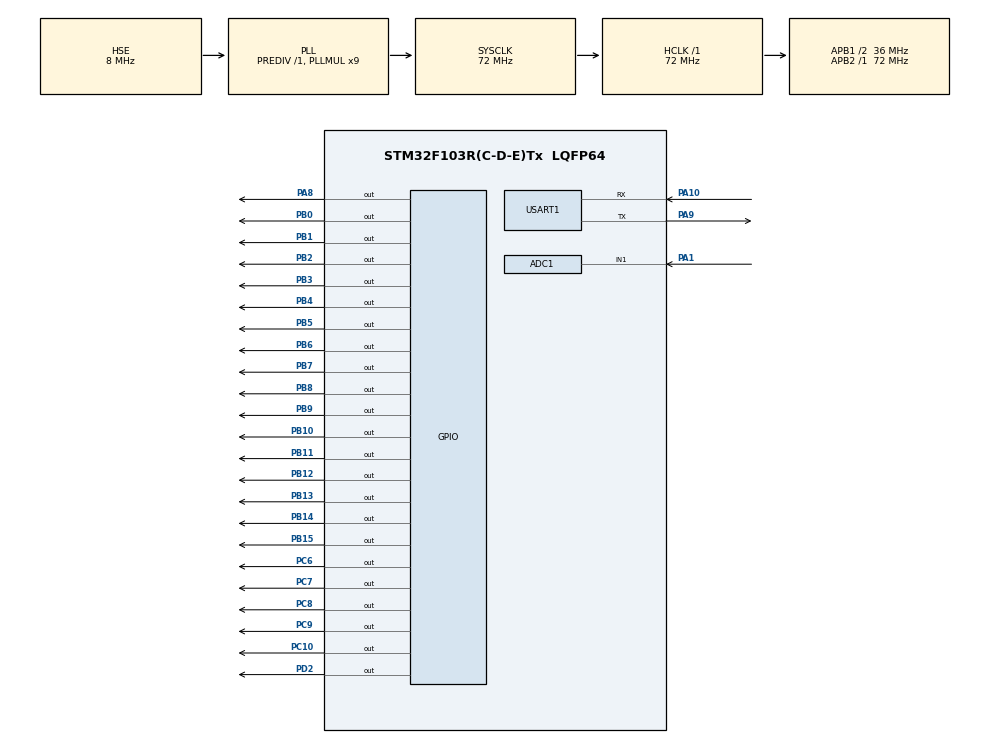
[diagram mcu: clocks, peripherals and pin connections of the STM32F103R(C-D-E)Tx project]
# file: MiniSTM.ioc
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ADC1.Channel-1\#ChannelRegularConversion=ADC_CHANNEL_1
ADC1.Channel-2\#ChannelRegularConversion=ADC_CHANNEL_TEMPSENSOR
ADC1.DiscontinuousConvMode=ENABLE
ADC1.EnableAnalogWatchDog=false
ADC1.NbrOfConversion=2
ADC1.NbrOfConversionFlag=1
ADC1.Rank-1\#ChannelRegularConversion=1
ADC1.Rank-2\#ChannelRegularConversion=2
ADC1.SamplingTime-1\#ChannelRegularConversion=ADC_SAMPLETIME_239CYCLES_5
ADC1.SamplingTime-2\#ChannelRegularConversion=ADC_SAMPLETIME_239CYCLES_5
ADC1.master=1
Mcu.Family=STM32F1
Mcu.Name=STM32F103R(C-D-E)Tx
Mcu.Package=LQFP64
NVIC.PriorityGroup=NVIC_PRIORITYGROUP_4
PA1.Signal=ADCx_IN1
PA10.Mode=Asynchronous
PA10.Signal=USART1_RX
PA13.Mode=Serial_Wire
PA13.Signal=SYS_JTMS-SWDIO
PA14.Mode=Serial_Wire
PA14.Signal=SYS_JTCK-SWCLK
PA8.GPIO_PuPd=GPIO_PULLUP
PA8.Signal=GPIO_Output
PA9.Mode=Asynchronous
PA9.Signal=USART1_TX
PB0.GPIO_PuPd=GPIO_PULLUP
PB0.GPIO_Speed=GPIO_SPEED_FREQ_HIGH
PB0.Signal=GPIO_Output
PB1.GPIO_PuPd=GPIO_PULLUP
PB1.GPIO_Speed=GPIO_SPEED_FREQ_HIGH
PB1.Signal=GPIO_Output
PB10.GPIO_PuPd=GPIO_PULLUP
PB10.GPIO_Speed=GPIO_SPEED_FREQ_HIGH
PB10.Signal=GPIO_Output
PB11.GPIO_PuPd=GPIO_PULLUP
PB11.GPIO_Speed=GPIO_SPEED_FREQ_HIGH
PB11.Signal=GPIO_Output
PB12.GPIO_PuPd=GPIO_PULLUP
PB12.GPIO_Speed=GPIO_SPEED_FREQ_HIGH
PB12.Signal=GPIO_Output
PB13.GPIO_PuPd=GPIO_PULLUP
PB13.GPIO_Speed=GPIO_SPEED_FREQ_HIGH
PB13.Signal=GPIO_Output
PB14.GPIO_PuPd=GPIO_PULLUP
PB14.GPIO_Speed=GPIO_SPEED_FREQ_HIGH
PB14.Signal=GPIO_Output
PB15.GPIO_PuPd=GPIO_PULLUP
PB15.GPIO_Speed=GPIO_SPEED_FREQ_HIGH
PB15.Signal=GPIO_Output
PB2.GPIO_PuPd=GPIO_PULLUP
PB2.GPIO_Speed=GPIO_SPEED_FREQ_HIGH
PB2.Signal=GPIO_Output
PB3.GPIO_PuPd=GPIO_PULLUP
PB3.GPIO_Speed=GPIO_SPEED_FREQ_HIGH
PB3.Signal=GPIO_Output
PB4.GPIO_PuPd=GPIO_PULLUP
PB4.GPIO_Speed=GPIO_SPEED_FREQ_HIGH
PB4.Signal=GPIO_Output
PB5.GPIO_PuPd=GPIO_PULLUP
PB5.GPIO_Speed=GPIO_SPEED_FREQ_HIGH
PB5.Signal=GPIO_Output
PB6.GPIO_PuPd=GPIO_PULLUP
PB6.GPIO_Speed=GPIO_SPEED_FREQ_HIGH
PB6.Signal=GPIO_Output
PB7.GPIO_PuPd=GPIO_PULLUP
PB7.GPIO_Speed=GPIO_SPEED_FREQ_HIGH
PB7.Signal=GPIO_Output
PB8.GPIO_PuPd=GPIO_PULLUP
PB8.GPIO_Speed=GPIO_SPEED_FREQ_HIGH
PB8.Signal=GPIO_Output
PB9.GPIO_PuPd=GPIO_PULLUP
PB9.GPIO_Speed=GPIO_SPEED_FREQ_HIGH
PB9.Signal=GPIO_Output
PC10.GPIO_PuPd=GPIO_PULLUP
PC10.GPIO_Speed=GPIO_SPEED_FREQ_HIGH
PC10.Signal=GPIO_Output
PC14-OSC32_IN.Mode=LSE-External-Oscillator
PC14-OSC32_IN.Signal=RCC_OSC32_IN
PC15-OSC32_OUT.Mode=LSE-External-Oscillator
PC15-OSC32_OUT.Signal=RCC_OSC32_OUT
PC6.GPIO_PuPd=GPIO_PULLUP
PC6.GPIO_Speed=GPIO_SPEED_FREQ_HIGH
PC6.Signal=GPIO_Output
PC7.GPIO_PuPd=GPIO_PULLUP
PC7.GPIO_Speed=GPIO_SPEED_FREQ_HIGH
PC7.Signal=GPIO_Output
PC8.GPIO_PuPd=GPIO_PULLUP
PC8.GPIO_Speed=GPIO_SPEED_FREQ_HIGH
PC8.Signal=GPIO_Output
PC9.GPIO_PuPd=GPIO_PULLUP
PC9.GPIO_Speed=GPIO_SPEED_FREQ_HIGH
PC9.Signal=GPIO_Output
PD0-OSC_IN.Mode=HSE-External-Oscillator
PD0-OSC_IN.Signal=RCC_OSC_IN
PD1-OSC_OUT.Mode=HSE-External-Oscillator
PD1-OSC_OUT.Signal=RCC_OSC_OUT
PD2.GPIO_PuPd=GPIO_PULLUP
PD2.Signal=GPIO_Output
ProjectManager.HeapSize=0x200
ProjectManager.StackSize=0x400
ProjectManager.TargetToolchain=MDK-ARM V5.32
RCC.ADCPresc=RCC_ADCPCLK2_DIV6
RCC.AHBFreq_Value=72000000
RCC.APB1CLKDivider=RCC_HCLK_DIV2
RCC.APB1Freq_Value=36000000
RCC.APB1TimFreq_Value=72000000
RCC.APB2Freq_Value=72000000
RCC.APB2TimFreq_Value=72000000
RCC.HCLKFreq_Value=72000000
RCC.PLLMUL=RCC_PLL_MUL9
RCC.PLLSourceVirtual=RCC_PLLSOURCE_HSE
RCC.SYSCLKFreq_VALUE=72000000
RCC.SYSCLKSource=RCC_SYSCLKSOURCE_PLLCLK
RCC.USBFreq_Value=72000000
SH.ADCx_IN1.0=ADC1_IN1,IN1
TIM4.AutoReloadPreload=TIM_AUTORELOAD_PRELOAD_DISABLE
TIM4.Channel-Output\ Compare1\ No\ Output=TIM_CHANNEL_1
TIM4.Period=1000
TIM4.Prescaler=8399
USART1.VirtualMode=VM_ASYNC
VP_ADC1_TempSens_Input.Mode=IN-TempSens
VP_TIM4_VS_ClockSourceITR.Mode=TriggerSource_ITR0
board=custom

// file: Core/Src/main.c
/* USER CODE BEGIN Header */
/**
 ******************************************************************************
 * @file           : main.c
 * @brief          : Main program body
 ******************************************************************************
 * @attention
 *
 * Copyright (c) 2022 STMicroelectronics.
 * All rights reserved.
 *
 * This software is licensed under terms that can be found in the LICENSE file
 * in the root directory of this software component.
 * If no LICENSE file comes with this software, it is provided AS-IS.
 *
 ******************************************************************************
 */
/* USER CODE END Header */
#include "main.h"
#include "adc.h"
#include "tim.h"
#include "usart.h"
#include "gpio.h"

/* USER CODE BEGIN Includes */
#include "led.h"
#include "lcd.h"
#include "uart.h"
#include "usmart.h"
#include "itemp.h"
/* USER CODE END Includes */

void SystemClock_Config(void);

/* USER CODE BEGIN 0 */

void led_set(uint8_t sta)
{
	LED1=sta;
}

void test_fun(void(*ledset)(uint8_t),uint8_t sta)
{
	ledset(sta);
}
/* USER CODE END 0 */

int main(void)
{
  /* USER CODE BEGIN 1 */
	short temp;
//	short temp;
  /* USER CODE END 1 */

  /* MCU Configuration--------------------------------------------------------*/

  /* Reset of all peripherals, Initializes the Flash interface and the Systick. */
  HAL_Init();

  /* Configure the system clock */
  SystemClock_Config();

  /* Initialize all configured peripherals */
  MX_GPIO_Init();
  MX_USART1_UART_Init();
  MX_TIM4_Init();
  MX_ADC1_Init();
  /* USER CODE BEGIN 2 */
	LCD_Init();

  HAL_NVIC_EnableIRQ(TIM4_IRQn);
	HAL_NVIC_SetPriority(TIM4_IRQn,9,0);
	HAL_TIM_Base_Start_IT(&htim4);

	HAL_NVIC_EnableIRQ(USART1_IRQn);
	HAL_NVIC_SetPriority(USART1_IRQn,9,0);
	HAL_UART_Receive_IT(&huart1, (uint8_t *)aRxBuffer, RXBUFFERSIZE);

	HAL_ADCEx_Calibration_Start(&hadc1);

	POINT_COLOR=RED;
	LCD_ShowString(30,50,200,16,16,"Mini STM32");
	LCD_ShowString(30,70,200,16,16,"ADC TEST");
	LCD_ShowString(30,90,200,16,16,"ATOM@ALIENTEK");
	LCD_ShowString(30,110,200,16,16,"2019/11/15");
	POINT_COLOR=BLUE;
	LCD_ShowString(30,170,200,16,16,"TEMPERATE: 00.00C");//先在固定位置显示小数点
  /* USER CODE END 2 */

  /* Infinite loop */
  /* USER CODE BEGIN WHILE */
	while (1)
	{
		temp=Get_Temprate();	//得到温度值
		if(temp<0)
		{
			temp=-temp;
			LCD_ShowString(30+10*8,170,16,16,16,"-");	//显示负号
		}
		else
			LCD_ShowString(30+10*8,170,16,16,16," ");	//无符号
		LCD_ShowxNum(30+11*8,170,temp/100,2,16,0);		//显示整数部分
		LCD_ShowxNum(30+14*8,170,temp%100,2,16,0);		//显示小数部分
		LED0=!LED0;
		HAL_Delay(250);
    /* USER CODE END WHILE */

	}
}

void SystemClock_Config(void)
{
  RCC_OscInitTypeDef RCC_OscInitStruct = {0};
  RCC_ClkInitTypeDef RCC_ClkInitStruct = {0};
  RCC_PeriphCLKInitTypeDef PeriphClkInit = {0};

  /** Initializes the RCC Oscillators according to the specified parameters
  * in the RCC_OscInitTypeDef structure.
  */
  RCC_OscInitStruct.OscillatorType = RCC_OSCILLATORTYPE_HSE;
  RCC_OscInitStruct.HSEState = RCC_HSE_ON;
  RCC_OscInitStruct.HSEPredivValue = RCC_HSE_PREDIV_DIV1;
  RCC_OscInitStruct.HSIState = RCC_HSI_ON;
  RCC_OscInitStruct.PLL.PLLState = RCC_PLL_ON;
  RCC_OscInitStruct.PLL.PLLSource = RCC_PLLSOURCE_HSE;
  RCC_OscInitStruct.PLL.PLLMUL = RCC_PLL_MUL9;
  if (HAL_RCC_OscConfig(&RCC_OscInitStruct) != HAL_OK)
  {
    Error_Handler();
  }

  /** Initializes the CPU, AHB and APB buses clocks
  */
  RCC_ClkInitStruct.ClockType = RCC_CLOCKTYPE_HCLK|RCC_CLOCKTYPE_SYSCLK
                              |RCC_CLOCKTYPE_PCLK1|RCC_CLOCKTYPE_PCLK2;
  RCC_ClkInitStruct.SYSCLKSource = RCC_SYSCLKSOURCE_PLLCLK;
  RCC_ClkInitStruct.AHBCLKDivider = RCC_SYSCLK_DIV1;
  RCC_ClkInitStruct.APB1CLKDivider = RCC_HCLK_DIV2;
  RCC_ClkInitStruct.APB2CLKDivider = RCC_HCLK_DIV1;

  if (HAL_RCC_ClockConfig(&RCC_ClkInitStruct, FLASH_LATENCY_2) != HAL_OK)
  {
    Error_Handler();
  }
  PeriphClkInit.PeriphClockSelection = RCC_PERIPHCLK_ADC;
  PeriphClkInit.AdcClockSelection = RCC_ADCPCLK2_DIV6;
  if (HAL_RCCEx_PeriphCLKConfig(&PeriphClkInit) != HAL_OK)
  {
    Error_Handler();
  }
}

void Error_Handler(void)
{
	__disable_irq();
	while (1)
	{
	}
}
